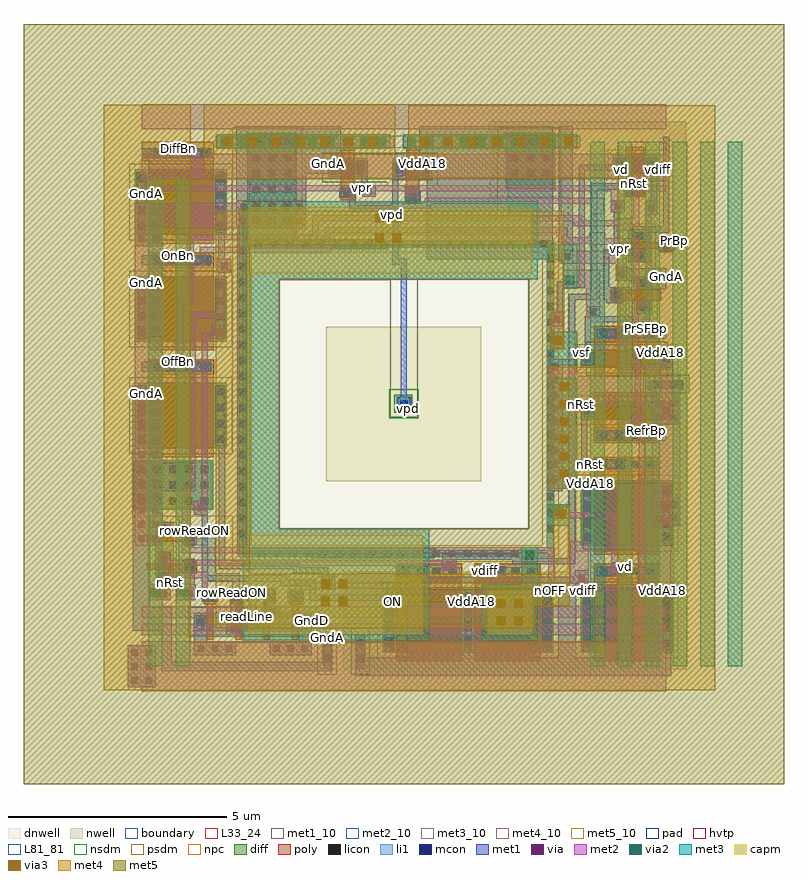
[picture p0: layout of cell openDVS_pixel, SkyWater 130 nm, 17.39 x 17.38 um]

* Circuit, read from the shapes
.subckt openDVS_pixel DiffBn GndA GndD ON OffBn OnBn PrBp PrSFBp RefrBp VddA18 nOFF nRst pixRst readLine rowReadOFF rowReadON vd vdiff vpd vpr vsf
XM1 nOFF OffBn GndA VSUBS sky130_fd_pr__nfet_01v8 w=1.5 l=1.5
XM2 ON OnBn GndA VSUBS sky130_fd_pr__nfet_01v8 w=1.5 l=1.5
XM3 vdiff DiffBn GndA VSUBS sky130_fd_pr__nfet_01v8 w=1.5 l=1.5
XM4 n1 pixRst nRst VSUBS sky130_fd_pr__nfet_01v8 w=0.42 l=0.15
XM5 GndA rowReadON n1 VSUBS sky130_fd_pr__nfet_01v8 w=0.42 l=0.15
XM6 n2 ON GndD VSUBS sky130_fd_pr__nfet_01v8 w=0.42 l=0.15
XM7 readLine rowReadON n2 VSUBS sky130_fd_pr__nfet_01v8 w=0.42 l=0.15
XM8 n3 rowReadOFF readLine VSUBS sky130_fd_pr__nfet_01v8 w=0.42 l=0.15
XM9 GndD nOFF n3 VSUBS sky130_fd_pr__nfet_01v8 w=0.42 l=0.15
XM10 vpr vpd GndA VSUBS sky130_fd_pr__nfet_01v8 w=0.42 l=0.3
XM11 VddA18 vpr vpd VSUBS sky130_fd_pr__nfet_01v8 w=0.5 l=0.3
XM12 VddA18 vdiff ON n4 sky130_fd_pr__pfet_01v8 w=1.5 l=1.5
XM13 nOFF vdiff VddA18 n4 sky130_fd_pr__pfet_01v8 w=1.5 l=1.5
XM14 VddA18 vd vdiff n4 sky130_fd_pr__pfet_01v8 w=1.5 l=1.5
XM15 VddA18 nRst VddA18 n4 sky130_fd_pr__pfet_01v8 w=1.5 l=1.5
XM16 VddA18 RefrBp nRst n4 sky130_fd_pr__pfet_01v8 w=0.42 l=1.5
XM17 VddA18 PrSFBp vsf n4 sky130_fd_pr__pfet_01v8_hvt w=0.42 l=1.5
XM18 vdiff nRst vd n4 sky130_fd_pr__pfet_01v8_hvt w=0.42 l=0.42
XM19 VddA18 PrBp vpr n4 sky130_fd_pr__pfet_01v8 w=0.5 l=0.15
XM20 GndA vpr vsf n4 sky130_fd_pr__pfet_01v8 w=0.42 l=0.25
XC21 vd vsf sky130_fd_pr__cap_mim_m3_1 w=3.985 l=2.27
XC22 vd vsf sky130_fd_pr__cap_mim_m3_1 w=6.47 l=1.505
XC23 vd vdiff sky130_fd_pr__cap_mim_m3_1 w=1 l=1
.ends

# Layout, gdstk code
import gdstk
lib = gdstk.Library(unit=1e-6, precision=1e-09)
def R(c, l, rs):  # rectangles x0, y0, x1, y1
    for r in rs: c.add(gdstk.rectangle(r[:2], r[2:], *l))
def A(c, l, x, y, w, h, nx, ny, dx, dy):  # array of equal rectangles
    R(c, l, [(x+i*dx, y+j*dy, x+i*dx+w, y+j*dy+h) for i in range(nx) for j in range(ny)])
def P(c, l, *ps):  # polygons
    for p in ps: c.add(gdstk.Polygon(p, *l))
L33_24 = (33, 24)
dnwell = (64, 18)
nwell = (64, 20)
diff = (65, 20)
poly = (66, 20)
licon = (66, 44)
li1 = (67, 20)
mcon = (67, 44)
met1_10 = (68, 10)
met1 = (68, 20)
via = (68, 44)
met2_10 = (69, 10)
met2 = (69, 20)
via2 = (69, 44)
met3_10 = (70, 10)
met3 = (70, 20)
via3 = (70, 44)
met4_10 = (71, 10)
met4 = (71, 20)
met5_10 = (72, 10)
met5 = (72, 20)
pad = (76, 20)
hvtp = (78, 44)
L81_81 = (81, 81)
capm = (89, 44)
nsdm = (93, 44)
psdm = (94, 20)
npc = (95, 20)
boundary = (235, 4)

opendvs_pixel = lib.new_cell('openDVS_pixel')
R(opendvs_pixel, L33_24, [(3.31,3.275,9.01,5.83), (3.31,3.275,5.86,8.975), (6.46,3.275,9.01,8.975), (6.46,3.28,9.01,8.98)])
R(opendvs_pixel, dnwell, [(3.31,3.28,9.01,8.98)])
R(opendvs_pixel, nwell, [(9.905,0.06,12.615,12.585), (4.775,0.065,5.375,2.295), (5.375,0.065,8.085,2.295), (5.375,0.065,12.615,2.295), (7.175,0.065,9.885,2.295), (9.905,0.065,12.615,2.665), (9.905,2.505,12.615,5.105), (4.39,4.36,7.93,7.9), (9.905,4.995,12.615,5.055), (9.905,5.055,12.615,6.575), (9.905,6.575,12.615,8.095), (10.705,7.89,12.225,9.35), (11.915,8.02,12.455,9.065), (12,9.065,12.455,11.95), (10.915,9.07,12.515,10.43), (10.4,9.35,10.915,10.43), (10.64,10.675,12.15,12.195), (8.12,10.865,9.905,12.585)])
A(opendvs_pixel, diff, 0.01, 5.115, 2.1, 1.5, 1, 3, 0, 2.44)
R(opendvs_pixel, diff, [(4.325,0.065,4.495,0.875), (5.08,0.065,5.25,0.875), (5.68,0.445,7.78,1.945), (7.48,0.445,9.58,1.945), (10.21,0.445,12.31,1.945), (1.355,0.935,4.055,1.355), (0.475,2.035,0.895,3.435), (2.38,2.63,9.595,2.8), (9.43,2.63,9.6,9.87), (2.38,2.635,2.55,10.58), (10.21,2.885,12.31,4.385), (-0.045,3.71,1.805,4.84), (10.21,5.775,12.31,6.195), (5.945,5.93,6.355,6.34), (11.735,6.475,12.545,6.645), (10.21,6.955,12.31,7.375), (11.425,8.195,11.845,9.045), (11.295,9.375,11.795,10.125), (2.55,9.7,9.555,9.87), (2.55,9.87,3.71,10.125), (2.55,10.125,2.58,10.58), (2.58,10.125,3.71,12.335), (2.58,10.125,3.71,12.335), (8.49,11.045,9.62,12.33), (5.91,11.245,6.81,11.745), (4.42,11.325,5.32,11.745), (10.935,11.4,11.955,11.82)])
A(opendvs_pixel, poly, 1.655, 0.735, 0.15, 0.82, 4, 1, 0.65, 0)
A(opendvs_pixel, poly, 0.31, 4.915, 1.5, 1.9, 1, 3, 0, 2.44)
A(opendvs_pixel, poly, 0.31, 6.815, 1.5, 0.33, 1, 3, 0, 2.44)
R(opendvs_pixel, poly, [(5.98,0.245,7.48,2.145), (7.78,0.245,9.28,2.145), (10.51,0.245,12.01,2.145), (1.595,1.555,1.865,1.885), (2.185,1.555,2.455,1.885), (2.955,1.555,3.225,1.885), (3.545,1.555,3.815,1.885), (5.98,2.145,7.48,2.475), (7.78,2.145,9.28,2.475), (10.51,2.145,12.01,2.475), (1.095,2.275,1.425,2.545), (0.275,2.335,1.095,2.485), (10.51,2.685,12.01,4.585), (1.095,2.925,1.425,3.195), (0.275,2.985,1.095,3.135), (10.51,4.585,12.01,4.915), (10.51,5.245,12.01,5.575), (10.51,5.575,12.01,6.395), (10.51,6.755,12.01,7.575), (10.51,7.575,12.01,7.905), (10.895,8.485,11.225,8.755), (11.225,8.495,12.045,8.745), (11.995,9.615,12.325,9.885), (11.095,9.675,11.995,9.825), (6.21,10.715,6.51,11.045), (4.72,10.795,5.02,11.125), (11.235,10.865,11.655,11.195), (6.21,11.045,6.51,11.945), (4.72,11.125,5.02,11.945), (11.235,11.195,11.655,12.015), (0.16,11.695,1.81,12.13)])
A(opendvs_pixel, licon, 5.745, 0.57, 0.17, 0.17, 1, 4, 0, 0.36)
A(opendvs_pixel, licon, 9.345, 0.57, 0.17, 0.17, 1, 4, 0, 0.36)
A(opendvs_pixel, licon, 10.275, 0.57, 0.17, 0.17, 1, 4, 0, 0.36)
A(opendvs_pixel, licon, 12.075, 0.57, 0.17, 0.17, 1, 4, 0, 0.36)
A(opendvs_pixel, licon, 1.42, 1.06, 0.17, 0.17, 3, 1, 1.2, 0)
A(opendvs_pixel, licon, 6.105, 2.225, 0.17, 0.17, 4, 1, 0.36, 0)
A(opendvs_pixel, licon, 7.905, 2.225, 0.17, 0.17, 4, 1, 0.36, 0)
A(opendvs_pixel, licon, 10.635, 2.225, 0.17, 0.17, 4, 2, 0.36, 2.44)
A(opendvs_pixel, licon, 3.19, 2.63, 0.17, 0.17, 4, 1, 0.36, 0)
A(opendvs_pixel, licon, 10.275, 3.01, 0.17, 0.17, 1, 4, 0, 0.36)
A(opendvs_pixel, licon, 12.075, 3.01, 0.17, 0.17, 1, 4, 0, 0.36)
A(opendvs_pixel, licon, 2.38, 3.075, 0.17, 0.17, 1, 19, 0, 0.36)
A(opendvs_pixel, licon, 0.075, 3.83, 0.17, 0.17, 5, 3, 0.36, 0.36)
A(opendvs_pixel, licon, 0.075, 5.24, 0.17, 0.17, 1, 4, 0, 0.36)
A(opendvs_pixel, licon, 1.875, 5.24, 0.17, 0.17, 1, 4, 0, 0.36)
A(opendvs_pixel, licon, 10.635, 5.325, 0.17, 0.17, 4, 2, 0.36, 2.33)
A(opendvs_pixel, licon, 0.435, 6.895, 0.17, 0.17, 4, 3, 0.36, 2.44)
A(opendvs_pixel, licon, 0.075, 7.68, 0.17, 0.17, 1, 4, 0, 0.36)
A(opendvs_pixel, licon, 1.875, 7.68, 0.17, 0.17, 1, 4, 0, 0.36)
A(opendvs_pixel, licon, 9.43, 7.915, 0.17, 0.17, 1, 4, 0, 0.36)
A(opendvs_pixel, licon, 3.47, 9.7, 0.17, 0.17, 4, 1, 0.36, 0)
A(opendvs_pixel, licon, 0.075, 10.12, 0.17, 0.17, 1, 4, 0, 0.36)
A(opendvs_pixel, licon, 1.875, 10.12, 0.17, 0.17, 1, 4, 0, 0.36)
A(opendvs_pixel, licon, 8.61, 11.325, 0.17, 0.17, 1, 3, 0, 0.36)
A(opendvs_pixel, licon, 8.61, 11.325, 0.17, 0.17, 3, 3, 0.36, 0.36)
R(opendvs_pixel, licon, [(4.325,0.225,4.495,0.395), (5.08,0.225,5.25,0.395), (7.545,0.57,7.715,0.74), (7.545,0.57,7.715,0.74), (4.325,0.585,4.495,0.755), (5.08,0.585,5.25,0.755), (7.545,0.93,7.715,1.1), (7.545,0.93,7.715,1.1), (7.545,1.29,7.715,1.46), (7.545,1.29,7.715,1.46), (1.645,1.635,1.815,1.805), (2.235,1.635,2.405,1.805), (3.005,1.635,3.175,1.805), (3.595,1.635,3.765,1.805), (7.545,1.65,7.715,1.82), (7.545,1.65,7.715,1.82), (0.6,2.1,0.77,2.27), (1.175,2.325,1.345,2.495), (2.825,2.63,2.995,2.8), (4.635,2.63,4.805,2.8), (4.995,2.63,5.165,2.8), (5.36,2.63,5.53,2.8), (5.72,2.63,5.89,2.8), (6.085,2.63,6.255,2.8), (6.445,2.63,6.615,2.8), (6.81,2.63,6.98,2.8), (7.17,2.63,7.34,2.8), (7.535,2.63,7.705,2.8), (7.895,2.63,8.065,2.8), (8.26,2.63,8.43,2.8), (8.62,2.63,8.79,2.8), (8.985,2.63,9.155,2.8), (1.175,2.975,1.345,3.145), (0.6,3.2,0.77,3.37), (9.43,3.2,9.6,3.37), (9.43,3.565,9.6,3.735), (9.43,3.925,9.6,4.095), (9.43,4.29,9.6,4.46), (9.43,4.65,9.6,4.82), (9.43,5.015,9.6,5.185), (9.43,5.375,9.6,5.545), (9.43,5.74,9.6,5.91), (10.275,5.9,10.445,6.07), (12.075,5.9,12.245,6.07), (6.075,6.05,6.245,6.22), (9.43,6.1,9.6,6.27), (9.43,6.465,9.6,6.635), (11.895,6.475,12.065,6.645), (12.255,6.475,12.425,6.645), (9.43,6.825,9.6,6.995), (10.275,7.08,10.445,7.25), (12.075,7.08,12.245,7.25), (9.43,7.19,9.6,7.36), (9.43,7.55,9.6,7.72), (11.55,8.26,11.72,8.43), (10.975,8.535,11.145,8.705), (11.55,8.81,11.72,8.98), (9.43,9.36,9.6,9.53), (11.46,9.44,11.63,9.61), (12.075,9.665,12.245,9.835), (12.075,9.665,12.245,9.835), (2.745,9.7,2.915,9.87), (3.105,9.7,3.275,9.87), (4.915,9.7,5.085,9.87), (5.275,9.7,5.445,9.87), (5.64,9.7,5.81,9.87), (6,9.7,6.17,9.87), (6.365,9.7,6.535,9.87), (6.725,9.7,6.895,9.87), (7.09,9.7,7.26,9.87), (7.45,9.7,7.62,9.87), (7.815,9.7,7.985,9.87), (8.175,9.7,8.345,9.87), (8.54,9.7,8.71,9.87), (8.9,9.7,9.07,9.87), (9.265,9.7,9.435,9.87), (11.46,9.89,11.63,10.06), (2.7,10.245,2.87,10.415), (2.7,10.245,2.87,10.415), (2.7,10.245,2.87,10.415), (2.7,10.245,2.87,10.415), (2.7,10.245,2.87,10.415), (3.06,10.245,3.23,10.415), (3.06,10.245,3.23,10.415), (3.06,10.245,3.23,10.415), (3.06,10.245,3.23,10.415), (3.42,10.245,3.59,10.415), (3.42,10.245,3.59,10.415), (3.42,10.245,3.59,10.415), (3.42,10.245,3.59,10.415), (2.7,10.605,2.87,10.775), (2.7,10.605,2.87,10.775), (2.7,10.605,2.87,10.775), (2.7,10.605,2.87,10.775), (2.7,10.605,2.87,10.775), (3.06,10.605,3.23,10.775), (3.06,10.605,3.23,10.775), (3.06,10.605,3.23,10.775), (3.06,10.605,3.23,10.775), (3.42,10.605,3.59,10.775), (3.42,10.605,3.59,10.775), (3.42,10.605,3.59,10.775), (3.42,10.605,3.59,10.775), (6.275,10.795,6.445,10.965), (4.785,10.875,4.955,11.045), (11.35,10.945,11.52,11.115), (2.7,10.965,2.87,11.135), (2.7,10.965,2.87,11.135), (2.7,10.965,2.87,11.135), (2.7,10.965,2.87,11.135), (3.06,10.965,3.23,11.135), (3.06,10.965,3.23,11.135), (3.06,10.965,3.23,11.135), (3.42,10.965,3.59,11.135), (3.42,10.965,3.59,11.135), (3.42,10.965,3.59,11.135), (2.7,11.325,2.87,11.495), (2.7,11.325,2.87,11.495), (2.7,11.325,2.87,11.495), (2.7,11.325,2.87,11.495), (3.06,11.325,3.23,11.495), (3.06,11.325,3.23,11.495), (3.06,11.325,3.23,11.495), (3.42,11.325,3.59,11.495), (3.42,11.325,3.59,11.495), (3.42,11.325,3.59,11.495), (5.975,11.41,6.145,11.58), (6.575,11.41,6.745,11.58), (4.485,11.45,4.655,11.62), (5.085,11.45,5.255,11.62), (11,11.52,11.17,11.69), (11.72,11.52,11.89,11.69), (2.7,11.685,2.87,11.855), (2.7,11.685,2.87,11.855), (2.7,11.685,2.87,11.855), (2.7,11.685,2.87,11.855), (3.06,11.685,3.23,11.855), (3.06,11.685,3.23,11.855), (3.06,11.685,3.23,11.855), (3.42,11.685,3.59,11.855), (3.42,11.685,3.59,11.855), (3.42,11.685,3.59,11.855), (2.7,12.045,2.87,12.215), (2.7,12.045,2.87,12.215), (2.7,12.045,2.87,12.215), (2.7,12.045,2.87,12.215), (3.06,12.045,3.23,12.215), (3.06,12.045,3.23,12.215), (3.06,12.045,3.23,12.215), (3.42,12.045,3.59,12.215), (3.42,12.045,3.59,12.215), (3.42,12.045,3.59,12.215)])
A(opendvs_pixel, li1, 1.42, 0.98, 0.17, 0.33, 3, 1, 1.2, 0)
A(opendvs_pixel, li1, 0.075, 5.16, 0.17, 1.41, 1, 3, 0, 2.44)
A(opendvs_pixel, li1, 1.875, 5.16, 0.17, 1.41, 1, 3, 0, 2.44)
A(opendvs_pixel, li1, 0.355, 6.895, 1.41, 0.17, 1, 3, 0, 2.44)
R(opendvs_pixel, li1, [(4.325,0.065,4.495,0.875), (4.325,0.065,4.495,0.875), (5.08,0.065,5.25,0.875), (5.745,0.49,5.915,1.9), (7.545,0.49,7.715,1.9), (7.545,0.49,7.715,1.9), (9.345,0.49,9.515,1.9), (10.275,0.49,10.445,1.9), (12.075,0.49,12.245,1.9), (2.235,1.555,2.405,1.885), (3.005,1.555,3.175,1.885), (1.565,1.635,1.895,1.805), (3.515,1.635,3.845,1.805), (4.265,1.885,4.595,2.215), (0.52,2.1,0.85,2.27), (6.025,2.225,7.435,2.395), (7.825,2.225,9.235,2.395), (10.555,2.225,11.965,2.395), (1.175,2.245,1.345,2.575), (2.38,2.63,9.595,2.8), (2.38,2.63,2.55,10.15), (2.38,2.63,2.55,10.58), (9.43,2.63,9.6,9.87), (1.175,2.895,1.345,3.225), (10.275,2.93,10.445,4.34), (12.075,2.93,12.245,4.34), (0.52,3.2,0.85,3.37), (-0.005,3.75,1.765,4.8), (-0.005,4.115,1.405,4.805), (10.555,4.665,11.965,4.835), (10.555,5.325,11.965,5.495), (10.275,5.82,10.445,6.15), (12.075,5.82,12.245,6.15), (5.995,5.97,6.325,6.3), (5.995,5.97,6.325,6.3), (11.755,6.475,12.565,6.645), (10.275,7,10.445,7.33), (12.075,7,12.245,7.33), (10.555,7.655,11.965,7.825), (11.47,8.26,11.8,8.43), (10.975,8.455,11.145,8.785), (11.47,8.81,11.8,8.98), (11.38,9.44,11.71,9.61), (12.075,9.585,12.245,9.915), (2.55,9.7,9.555,9.87), (2.55,9.87,3.67,10.125), (11.38,9.89,11.71,10.06), (2.38,10.125,3.67,10.58), (2.62,10.165,3.67,12.295), (2.62,10.165,3.67,12.295), (8.53,10.52,9.58,12.29), (6.195,10.795,6.525,10.965), (4.705,10.875,5.035,11.045), (11.27,10.945,11.6,11.115), (5.975,11.33,6.145,11.66), (6.575,11.33,6.745,11.66), (4.485,11.37,4.655,11.7), (5.085,11.37,5.255,11.7), (11,11.44,11.17,11.77), (11.72,11.44,11.89,11.77)])
A(opendvs_pixel, mcon, 5.745, 0.635, 0.17, 0.17, 1, 3, 0, 0.36)
A(opendvs_pixel, mcon, 7.545, 0.635, 0.17, 0.17, 1, 3, 0, 0.36)
A(opendvs_pixel, mcon, 9.345, 0.735, 0.17, 0.17, 1, 3, 0, 0.36)
A(opendvs_pixel, mcon, 10.275, 0.735, 0.17, 0.17, 1, 3, 0, 0.36)
A(opendvs_pixel, mcon, 1.42, 1.06, 0.17, 0.17, 3, 1, 1.2, 0)
A(opendvs_pixel, mcon, 4.915, 2.63, 0.17, 0.17, 3, 1, 0.36, 0)
A(opendvs_pixel, mcon, 2.38, 3.075, 0.17, 0.17, 1, 19, 0, 0.36)
A(opendvs_pixel, mcon, 12.075, 3.295, 0.17, 0.17, 1, 3, 0, 0.36)
A(opendvs_pixel, mcon, 0.075, 4.195, 0.17, 0.17, 4, 2, 0.36, 0.36)
A(opendvs_pixel, mcon, 0.075, 5.24, 0.17, 0.17, 1, 4, 0, 0.36)
A(opendvs_pixel, mcon, 1.875, 5.24, 0.17, 0.17, 1, 4, 0, 0.36)
A(opendvs_pixel, mcon, 10.635, 5.325, 0.17, 0.17, 4, 2, 0.36, 2.33)
A(opendvs_pixel, mcon, 0.435, 6.895, 0.17, 0.17, 4, 3, 0.36, 2.44)
A(opendvs_pixel, mcon, 0.075, 7.68, 0.17, 0.17, 1, 4, 0, 0.36)
A(opendvs_pixel, mcon, 1.875, 7.68, 0.17, 0.17, 1, 4, 0, 0.36)
A(opendvs_pixel, mcon, 3.47, 9.7, 0.17, 0.17, 4, 1, 0.36, 0)
A(opendvs_pixel, mcon, 0.075, 10.12, 0.17, 0.17, 1, 4, 0, 0.36)
A(opendvs_pixel, mcon, 1.875, 10.12, 0.17, 0.17, 1, 4, 0, 0.36)
A(opendvs_pixel, mcon, 2.7, 10.245, 0.17, 0.17, 3, 6, 0.36, 0.36)
A(opendvs_pixel, mcon, 8.61, 11.325, 0.17, 0.17, 3, 3, 0.36, 0.36)
R(opendvs_pixel, mcon, [(4.325,0.225,4.495,0.395), (5.08,0.225,5.25,0.395), (4.325,0.585,4.495,0.755), (5.08,0.585,5.25,0.755), (12.075,1.095,12.245,1.265), (12.075,1.455,12.245,1.625), (1.645,1.635,1.815,1.805), (2.235,1.635,2.405,1.805), (3.005,1.635,3.175,1.805), (3.595,1.635,3.765,1.805), (4.345,1.965,4.515,2.135), (0.6,2.1,0.77,2.27), (6.105,2.225,6.275,2.395), (6.465,2.225,6.635,2.395), (7.905,2.225,8.075,2.395), (8.265,2.225,8.435,2.395), (10.635,2.225,10.805,2.395), (10.995,2.225,11.165,2.395), (1.175,2.325,1.345,2.495), (4.19,2.63,4.36,2.8), (4.55,2.63,4.72,2.8), (6,2.63,6.17,2.8), (6.36,2.63,6.53,2.8), (1.175,2.975,1.345,3.145), (0.6,3.2,0.77,3.37), (10.275,3.295,10.445,3.465), (10.275,3.295,10.445,3.465), (10.275,3.655,10.445,3.825), (10.275,3.655,10.445,3.825), (10.275,4.015,10.445,4.185), (10.275,4.015,10.445,4.185), (10.635,4.665,10.805,4.835), (10.995,4.665,11.165,4.835), (10.275,5.9,10.445,6.07), (12.075,5.9,12.245,6.07), (6.075,6.05,6.245,6.22), (11.895,6.475,12.065,6.645), (12.255,6.475,12.425,6.645), (10.275,7.08,10.445,7.25), (12.075,7.08,12.245,7.25), (11.55,8.26,11.72,8.43), (10.975,8.535,11.145,8.705), (11.55,8.81,11.72,8.98), (11.46,9.44,11.63,9.61), (12.075,9.665,12.245,9.835), (2.745,9.7,2.915,9.87), (3.105,9.7,3.275,9.87), (4.915,9.7,5.085,9.87), (5.275,9.7,5.445,9.87), (11.46,9.89,11.63,10.06), (6.275,10.795,6.445,10.965), (4.785,10.875,4.955,11.045), (11.35,10.945,11.52,11.115), (5.975,11.41,6.145,11.58), (6.575,11.41,6.745,11.58), (4.485,11.45,4.655,11.62), (5.085,11.45,5.255,11.62), (11,11.52,11.17,11.69), (11.72,11.52,11.89,11.69)])
R(opendvs_pixel, met1_10, [(3.31,3.28,5.86,8.98), (3.31,3.28,9.01,5.835), (6.46,3.28,9.01,8.98)])
A(opendvs_pixel, met1, 1.36, 1, 0.29, 0.29, 3, 1, 1.2, 0)
A(opendvs_pixel, met1, 2.35, 2.96, 0.23, 0.37, 1, 8, 0, 0.72)
A(opendvs_pixel, met1, 1.845, 5.18, 0.23, 1.37, 1, 3, 0, 2.44)
A(opendvs_pixel, met1, 0.375, 6.865, 1.37, 0.23, 1, 3, 0, 2.44)
R(opendvs_pixel, met1, [(-0.16,-0.35,0.48,0.61), (5.05,-0.08,12.275,0.34), (0.16,0.02,0.445,0.37), (0.62,0.02,0.855,0.465), (0.855,0.02,4.385,0.24), (4.295,0.02,4.525,0.47), (5.05,0.125,5.28,0.855), (6.22,0.34,7.515,1.615), (7.515,0.34,7.745,0.48), (7.745,0.34,9.035,1.615), (9.685,0.34,10.105,1.865), (10.76,0.34,12.16,1.915), (12.045,0.34,12.275,0.48), (1.36,0.38,2.32,0.7), (3.09,0.38,4.05,0.7), (0.62,0.465,0.855,1.48), (4.295,0.47,4.525,0.84), (5.715,0.48,5.945,1.615), (7.515,0.48,7.745,1.615), (9.315,0.48,9.545,1.875), (10.25,0.48,10.48,1.875), (12.045,0.48,12.275,1.875), (1.36,0.7,1.65,1), (3.76,0.7,4.05,1), (2.1,0.84,2.42,1.1), (-0.045,0.94,0.365,2.89), (-0.045,0.94,0.855,1.48), (2.195,1.1,2.42,1.605), (2.99,1.24,3.31,1.5), (2.975,1.5,3.205,1.605), (2.205,1.535,2.435,1.905), (2.975,1.535,3.205,1.905), (1.545,1.605,1.915,1.835), (2.575,1.605,2.835,1.93), (3.495,1.605,3.865,1.835), (5.715,1.615,5.945,1.765), (0.505,1.64,0.825,1.9), (1.13,1.64,1.4,1.965), (11.505,1.875,12.275,2.97), (4.285,1.905,4.575,2.195), (1.145,1.965,1.375,2.225), (10.065,2.005,10.385,2.325), (0.54,2.04,0.83,2.33), (0.82,2.04,0.985,2.29), (7.845,2.175,8.495,2.195), (6.045,2.195,6.695,2.425), (7.845,2.195,8.495,2.425), (10.575,2.195,11.225,2.425), (10.905,2.195,11.225,2.515), (1.145,2.225,1.375,2.595), (7.04,2.315,7.365,2.575), (0.54,2.33,0.83,2.75), (0.54,2.43,0.81,2.75), (4.03,2.6,6.865,2.83), (10.245,2.795,12.245,4.33), (2.35,2.83,2.58,8.72), (1.145,2.875,1.375,3.245), (-0.045,2.89,0.64,6.41), (10.245,2.97,10.445,4.33), (12.075,2.97,12.275,4.33), (0.54,3.14,0.83,3.43), (11.84,3.35,12.48,3.99), (1.36,3.6,1.68,3.92), (0.015,4.135,1.385,4.785), (9.465,4.135,9.795,7.15), (0.045,4.635,0.275,5.18), (10.575,4.635,11.225,4.865), (-0.045,5.18,0.275,6.55), (10.575,5.295,11.945,5.525), (11.945,5.295,12.16,5.525), (11.35,5.665,11.67,5.925), (11.84,5.665,12.48,6.305), (10.215,5.84,10.505,6.13), (12.015,5.84,12.305,6.13), (6.015,5.99,6.305,6.28), (12.015,6.13,12.305,7.02), (11.84,6.305,12.48,6.445), (11.79,6.445,12.14,6.675), (12.14,6.445,12.53,6.675), (0.16,6.865,0.375,7.095), (10.215,7.02,10.505,7.31), (12.015,7.02,12.305,7.31), (11.44,7.195,11.76,7.455), (0.045,7.62,0.275,8.99), (1.755,7.62,2.075,7.94), (10.575,7.625,11.945,7.855), (11.945,7.625,12.16,7.855), (0,7.67,0.64,8.95), (9.535,7.905,9.795,8.225), (10.325,8.11,10.645,8.37), (11.49,8.135,11.78,8.2), (11.49,8.2,11.78,8.49), (10.79,8.435,11.175,8.805), (10.945,8.435,11.175,8.805), (2.35,8.72,2.58,10.15), (11.49,8.75,11.78,9.04), (11.78,8.75,12.16,9.04), (11,8.945,11.26,9.265), (11,8.945,11.26,9.24), (11.26,8.945,12.16,9.24), (1.89,9.13,2.21,9.45), (0.16,9.305,0.4,9.535), (9.76,9.34,10.02,9.66), (11.4,9.38,11.69,9.67), (9.705,9.39,10.02,12.485), (6.685,9.44,7.41,11.35), (7.41,9.44,9.565,12.48), (11.975,9.635,12.345,9.865), (2.58,9.67,5.755,9.9), (0,9.74,0.64,10.7), (11.4,9.83,11.69,10.12), (0.045,10.06,0.275,11.43), (2.33,10.15,3.93,12.48), (2.33,10.15,3.93,10.79), (7.245,10.435,9.165,10.755), (11.69,10.455,11.95,10.775), (10.895,10.515,11.215,10.775), (6.175,10.765,6.545,10.995), (4.685,10.845,5.055,11.075), (5.195,10.87,5.515,11.13), (6.175,10.87,6.495,11.13), (8.91,10.9,9.56,12.27), (11.25,10.915,11.62,11.145), (5.915,11.35,6.205,11.64), (6.515,11.35,6.805,11.64), (6.515,11.35,7.41,12.48), (3.93,11.39,4.715,12.48), (4.425,11.39,4.715,11.68), (5.025,11.39,5.315,11.68), (10.94,11.46,11.23,11.75), (11.66,11.46,11.95,11.75), (4.425,11.68,4.715,11.78), (0.16,11.745,0.375,11.975)])
A(opendvs_pixel, via, -0.075, -0.265, 0.15, 0.15, 1, 3, 0, 0.32)
A(opendvs_pixel, via, 0.245, -0.265, 0.15, 0.15, 1, 3, 0, 0.32)
A(opendvs_pixel, via, 1.445, 0.465, 0.15, 0.15, 3, 1, 0.32, 0)
A(opendvs_pixel, via, 3.175, 0.465, 0.15, 0.15, 3, 1, 0.32, 0)
A(opendvs_pixel, via, 0.085, 2.975, 0.15, 0.15, 1, 11, 0, 0.32)
A(opendvs_pixel, via, 0.405, 2.975, 0.15, 0.15, 1, 11, 0, 0.32)
A(opendvs_pixel, via, 9.52, 4.355, 0.15, 0.15, 1, 9, 0, 0.32)
A(opendvs_pixel, via, 0.085, 7.755, 0.15, 0.15, 1, 4, 0, 0.32)
A(opendvs_pixel, via, 0.405, 7.755, 0.15, 0.15, 1, 4, 0, 0.32)
A(opendvs_pixel, via, 0.085, 9.825, 0.15, 0.15, 1, 3, 0, 0.32)
A(opendvs_pixel, via, 0.405, 9.825, 0.15, 0.15, 1, 3, 0, 0.32)
A(opendvs_pixel, via, 2.415, 10.235, 0.15, 0.15, 5, 2, 0.32, 0.32)
R(opendvs_pixel, via, [(2.185,0.895,2.335,1.045), (3.075,1.295,3.225,1.445), (0.59,1.695,0.74,1.845), (2.63,1.695,2.78,1.845), (1.185,1.725,1.335,1.875), (10.15,2.09,10.3,2.24), (10.99,2.28,11.14,2.43), (7.13,2.37,7.28,2.52), (0.595,2.515,0.745,2.665), (11.925,3.435,12.075,3.585), (12.245,3.435,12.395,3.585), (1.445,3.685,1.595,3.835), (11.925,3.755,12.075,3.905), (12.245,3.755,12.395,3.905), (11.435,5.72,11.585,5.87), (11.925,5.75,12.075,5.9), (12.245,5.75,12.395,5.9), (11.925,6.07,12.075,6.22), (12.245,6.07,12.395,6.22), (11.525,7.25,11.675,7.4), (1.84,7.705,1.99,7.855), (9.59,7.99,9.74,8.14), (10.41,8.165,10.56,8.315), (11.055,9.03,11.205,9.18), (1.975,9.215,2.125,9.365), (9.815,9.425,9.965,9.575), (11.745,10.54,11.895,10.69), (10.98,10.57,11.13,10.72), (5.28,10.925,5.43,11.075), (6.26,10.925,6.41,11.075)])
R(opendvs_pixel, met2_10, [(3.31,3.28,9.01,8.98), (5.94,11.99,6.15,12.27)])
R(opendvs_pixel, met2, [(0.16,-0.44,12.16,0.7), (-0.16,-0.35,0.48,0.61), (1.36,0.38,2.32,0.7), (3.09,0.38,4.05,0.7), (0.335,1.64,0.615,2.01), (0.505,1.64,0.825,1.925), (0.965,1.64,1.22,2.01), (1.13,1.64,1.4,2.01), (2.54,1.64,2.865,1.9), (0.505,1.655,0.78,1.925), (9.96,2.005,10.385,2.99), (10.065,2.005,10.385,2.325), (10.905,2.195,11.225,2.515), (7.04,2.315,7.365,2.575), (0.54,2.43,0.81,2.75), (8.85,2.485,9.22,2.855), (0,2.89,0.64,6.41), (0,2.89,0.64,10.73), (11.84,3.35,12.48,3.99), (9.515,3.52,9.885,3.8), (1.36,3.6,1.68,3.92), (11.84,3.99,12.48,5.73), (9.465,4.195,10.12,7.15), (11.35,5.665,11.67,5.925), (11.84,5.665,12.48,6.775), (10.12,6.065,11.84,6.775), (11.44,7.195,11.76,7.455), (9.525,7.41,9.805,8.24), (1.755,7.62,2.075,7.94), (0,7.67,0.64,8.95), (9.535,7.905,9.795,8.225), (10.325,8.11,10.645,9.2), (10.325,8.11,10.645,8.37), (9.79,8.775,10.325,9.2), (9.84,8.775,10.12,9.145), (11,8.945,11.26,9.34), (1.89,9.13,2.21,9.45), (9.76,9.34,10.02,9.66), (9.76,9.34,10.3,9.635), (10.3,9.34,11.26,9.635), (0,9.74,0.64,10.7), (10.4,9.775,10.77,10.055), (11.03,10.095,11.4,10.375), (0.64,10.15,3.93,10.73), (2.33,10.15,3.93,10.79), (11.69,10.455,11.95,10.775), (10.44,10.475,10.725,10.845), (10.895,10.515,11.215,10.795), (10.895,10.795,11.215,11.13), (5.195,10.87,5.515,11.13), (6.175,10.87,6.495,11.13), (0.16,11.27,12.16,11.85), (1.86,11.99,5.94,12.27), (6.15,11.99,10.19,12.27), (0.16,12.41,12.16,12.99)])
A(opendvs_pixel, via2, 9.725, 4.43, 0.2, 0.2, 1, 6, 0, 0.4)
A(opendvs_pixel, via2, 1.965, 12.03, 0.2, 0.2, 10, 1, 0.4, 0)
A(opendvs_pixel, via2, 6.235, 12.03, 0.2, 0.2, 10, 1, 0.4, 0)
R(opendvs_pixel, via2, [(0.375,1.725,0.575,1.925), (1.005,1.725,1.205,1.925), (8.935,2.57,9.135,2.77), (9.6,3.56,9.8,3.76), (9.565,7.495,9.765,7.695), (9.855,8.86,10.055,9.06)])
R(opendvs_pixel, met3_10, [(3.31,3.28,9.01,8.98)])
R(opendvs_pixel, met3, [(2.47,0.73,6.735,3.28), (7.94,0.73,9.22,2.01), (8.85,2.01,9.22,2.385), (8.85,2.385,9.22,2.485), (8.85,2.485,9.22,2.855), (2.47,2.82,3.31,9.485), (9.465,3.345,9.955,3.835), (9.575,3.415,9.955,3.795), (9.465,4.195,10.12,6.715), (9.5,7.015,10.12,7.78), (9.79,8.77,10.12,9.665), (2.47,8.98,9.22,10.765), (9.145,9.44,10.12,9.77), (1.88,11.965,5.85,12.295), (6.15,11.965,10.12,12.295)])
A(opendvs_pixel, via3, 9.725, 4.43, 0.2, 0.2, 1, 6, 0, 0.4)
A(opendvs_pixel, via3, 2.05, 12.03, 0.2, 0.2, 7, 1, 0.55, 0)
A(opendvs_pixel, via3, 6.53, 12.03, 0.2, 0.2, 7, 1, 0.55, 0)
R(opendvs_pixel, via3, [(8.28,1.07,8.48,1.27), (8.68,1.07,8.88,1.27), (8.28,1.47,8.48,1.67), (8.68,1.47,8.88,1.67), (4.265,1.52,4.465,1.72), (4.665,1.52,4.865,1.72), (4.265,1.92,4.465,2.12), (4.665,1.92,4.865,2.12), (9.665,3.505,9.865,3.705), (9.565,7.49,9.765,7.69), (5.505,9.82,5.705,10.02), (5.905,9.82,6.105,10.02), (5.505,10.285,5.705,10.485), (5.905,10.285,6.105,10.485)])
R(opendvs_pixel, met4_10, [(3.31,3.28,9.01,8.98)])
R(opendvs_pixel, met4, [(-0.7,-0.42,1.285,12.97), (0.155,-0.42,13.285,0.68), (11.035,0.13,13.285,12.96), (1.855,1.005,9.165,1.845), (1.855,1.515,9.165,2.245), (8.895,1.515,9.955,2.245), (9.11,1.515,9.84,2.245), (1.855,1.525,2.64,10.525), (5.14,1.525,5.87,2.255), (9.575,2.125,9.955,3.415), (9.575,3.415,9.955,3.795), (9.465,4.195,11.035,6.985), (1.885,5.345,2.615,6.075), (9.5,7.385,9.83,10.55), (1.855,7.885,2.585,8.615), (1.855,9.755,9.505,10.55), (1.91,9.945,2.64,10.525), (1.585,11.29,5.965,12.97), (6.265,11.3,11.035,12.96)])
R(opendvs_pixel, met5_10, [(3.31,3.28,9.01,8.98)])
R(opendvs_pixel, met5, [(-2.53,-2.56,3.31,14.82), (-2.53,-2.56,14.855,3.28), (9.01,-2.56,14.855,14.82)])
P(opendvs_pixel, met5, [(3.3,8.98),(3.3,9.44),(0.16,9.44),(0.16,14.82),(12.16,14.82),(12.16,8.98)])
R(opendvs_pixel, pad, [(3.31,3.28,9.01,8.98)])
R(opendvs_pixel, hvtp, [(10.33,6.775,12.19,7.555), (11.065,11.215,11.725,11.995), (11.065,11.225,12.16,12.13), (11.9,11.225,12.16,12.005)])
R(opendvs_pixel, L81_81, [(3.31,3.28,9.01,8.98)])
R(opendvs_pixel, capm, [(2.61,0.87,6.595,3.14), (8.08,0.87,9.08,1.87), (2.61,9.12,9.08,10.625)])
A(opendvs_pixel, nsdm, -0.115, 4.99, 2.35, 1.75, 1, 3, 0, 2.44)
R(opendvs_pixel, nsdm, [(4.955,-0.06,5.375,1), (1.23,0.81,4.18,1.48), (0.35,1.91,1.02,3.56), (5.825,5.805,6.485,6.465), (11.63,6.375,12.69,6.795), (8.3,10.42,9.755,12.455), (5.785,11.12,6.935,11.87), (4.295,11.2,5.445,11.87), (5.445,11.2,5.805,11.87)])
R(opendvs_pixel, psdm, [(4.18,-0.06,4.62,1), (5.555,0.32,7.905,2.07), (7.355,0.32,9.705,2.07), (10.085,0.32,12.435,2.07), (2.235,2.525,9.64,2.905), (9.325,2.525,9.705,10), (2.235,2.635,2.675,12.455), (10.085,2.76,12.435,4.51), (-0.05,3.56,2.235,4.99), (10.085,5.65,12.435,6.32), (10.085,6.83,12.435,7.5), (11.3,8.07,11.97,9.17), (11.17,9.17,11.92,9.25), (11.17,9.25,11.92,10.25), (2.675,9.595,9.705,10), (2.39,9.995,3.84,12.455), (10.82,11.27,12.16,11.94)])
A(opendvs_pixel, npc, 0.3, 6.805, 1.52, 0.35, 1, 3, 0, 2.44)
R(opendvs_pixel, npc, [(1.585,1.545,1.875,1.895), (2.175,1.545,2.465,1.895), (2.945,1.545,3.235,1.895), (3.535,1.545,3.825,1.895), (5.97,2.135,7.49,2.485), (7.77,2.135,9.29,2.485), (10.5,2.135,12.02,2.485), (1.085,2.265,1.435,2.555), (1.085,2.915,1.435,3.205), (10.5,4.575,12.02,4.925), (10.5,5.235,12.02,5.585), (10.5,7.565,12.02,7.915), (10.885,8.475,11.235,8.765), (11.985,9.605,12.335,9.895), (6.2,10.705,6.52,11.055), (4.71,10.785,5.03,11.135), (11.235,10.855,11.675,11.205), (0.16,11.685,1.82,12.13)])
R(opendvs_pixel, boundary, [(10.445,0.725,10.51,0.73)])
opendvs_pixel.add(gdstk.FlexPath([(1.61,3.6),(1.61,7.69),(1.97,7.69)], 0.14, ends="flush", simple_path=True, layer=69, datatype=20))  # met2
opendvs_pixel.add(gdstk.FlexPath([(1.33,8.235),(1.33,6.98)], 0.14, ends="flush", simple_path=True, layer=69, datatype=20))  # met2
opendvs_pixel.add(gdstk.FlexPath([(1.28,9.115),(1.28,8.47),(1.05,8.47),(1.05,6.96)], 0.14, ends="flush", simple_path=True, layer=69, datatype=20))  # met2
opendvs_pixel.add(gdstk.FlexPath([(12.16,0.97),(0.16,0.97)], 0.26, ends="flush", simple_path=True, layer=69, datatype=20))  # met2
opendvs_pixel.add(gdstk.FlexPath([(12.16,1.37),(0.16,1.37)], 0.26, ends="flush", simple_path=True, layer=69, datatype=20))  # met2
opendvs_pixel.add(gdstk.FlexPath([(4.465,10.1),(9.9,10.1)], 0.14, ends="flush", simple_path=True, layer=69, datatype=20))  # met2
opendvs_pixel.add(gdstk.FlexPath([(4.63,10.38),(10.23,10.38)], 0.14, ends="flush", simple_path=True, layer=69, datatype=20))  # met2
opendvs_pixel.add(gdstk.FlexPath([(1.28,9.93),(1.28,9.115)], 0.14, ends="flush", simple_path=True, layer=69, datatype=20))  # met2
opendvs_pixel.add(gdstk.FlexPath([(4.21,9.94),(1.21,9.94)], 0.14, ends="flush", simple_path=True, layer=69, datatype=20))  # met2
opendvs_pixel.add(gdstk.FlexPath([(4.14,10.39),(4.14,9.87)], 0.14, ends="flush", simple_path=True, layer=69, datatype=20))  # met2
opendvs_pixel.add(gdstk.FlexPath([(4.07,10.38),(4.77,10.38)], 0.14, ends="flush", simple_path=True, layer=69, datatype=20))  # met2
opendvs_pixel.add(gdstk.FlexPath([(4.42,9.59),(4.42,10.17)], 0.14, ends="flush", simple_path=True, layer=69, datatype=20))  # met2
opendvs_pixel.add(gdstk.FlexPath([(6.37,10.66),(4.98,10.66),(4.98,11.06),(0.16,11.06)], 0.14, ends="flush", simple_path=True, layer=69, datatype=20))  # met2
opendvs_pixel.add(gdstk.FlexPath([(5.335,11.06),(11.215,11.06)], 0.14, ends="flush", simple_path=True, layer=69, datatype=20))  # met2
opendvs_pixel.add(gdstk.FlexPath([(4.49,9.66),(1.61,9.66)], 0.14, ends="flush", simple_path=True, layer=69, datatype=20))  # met2
opendvs_pixel.add(gdstk.FlexPath([(10.425,10.265),(10.115,10.265),(10.115,10.38),(10.23,10.38)], 0.14, ends="flush", simple_path=True, layer=69, datatype=20))  # met2
opendvs_pixel.add(gdstk.FlexPath([(10.425,10.265),(11.54,10.265)], 0.14, ends="flush", simple_path=True, layer=69, datatype=20))  # met2
opendvs_pixel.add(gdstk.FlexPath([(1.56,9.73),(1.56,9.305)], 0.14, ends="flush", simple_path=True, layer=69, datatype=20))  # met2
opendvs_pixel.add(gdstk.FlexPath([(1.38,8.165),(1.99,8.165),(1.99,9.45)], 0.14, ends="flush", simple_path=True, layer=69, datatype=20))  # met2
opendvs_pixel.add(gdstk.FlexPath([(6.37,10.66),(6.705,10.66),(6.705,10.78),(10.725,10.78)], 0.14, ends="flush", simple_path=True, layer=69, datatype=20))  # met2
opendvs_pixel.add(gdstk.FlexPath([(11.6,5.73),(11.6,1.935),(10.955,1.935)], 0.14, ends="flush", simple_path=True, layer=69, datatype=20))  # met2
opendvs_pixel.add(gdstk.FlexPath([(11.6,1.935),(9.535,1.935),(9.535,2.855)], 0.14, ends="flush", simple_path=True, layer=69, datatype=20))  # met2
opendvs_pixel.add(gdstk.FlexPath([(2.32,2.785),(1.15,2.785)], 0.14, ends="flush", simple_path=True, layer=69, datatype=20))  # met2
opendvs_pixel.add(gdstk.FlexPath([(1.33,6.98),(1.33,4.2),(1.15,4.2),(1.15,2.715)], 0.14, ends="flush", simple_path=True, layer=69, datatype=20))  # met2
opendvs_pixel.add(gdstk.FlexPath([(2.25,2.785),(9.605,2.785)], 0.14, ends="flush", simple_path=True, layer=69, datatype=20))  # met2
opendvs_pixel.add(gdstk.FlexPath([(11.76,9.66),(11.76,8.455),(11.45,8.455),(11.45,7.195)], 0.14, ends="flush", simple_path=True, layer=69, datatype=20))  # met2
opendvs_pixel.add(gdstk.FlexPath([(11.76,9.66),(11.76,10.565)], 0.14, ends="flush", simple_path=True, layer=69, datatype=20))  # met2
opendvs_pixel.add(gdstk.FlexPath([(10.77,9.87),(9.83,9.87),(9.83,10.17)], 0.14, ends="flush", simple_path=True, layer=69, datatype=20))  # met2
opendvs_pixel.add(gdstk.FlexPath([(11.47,10.195),(11.47,11.06),(12.16,11.06)], 0.14, ends="flush", simple_path=True, layer=69, datatype=20))  # met2
opendvs_pixel.add(gdstk.FlexPath([(11.17,7.4),(11.17,6.985),(12.16,6.985)], 0.14, ends="flush", simple_path=True, layer=69, datatype=20))  # met2
opendvs_pixel.add(gdstk.FlexPath([(10.77,9.845),(11.47,9.845),(11.47,8.735),(11.17,8.735),(11.17,7.4)], 0.14, ends="flush", simple_path=True, layer=69, datatype=20))  # met2
opendvs_pixel.add(gdstk.FlexPath([(7.225,2.5),(0.81,2.5)], 0.14, ends="flush", simple_path=True, layer=69, datatype=20))  # met2
opendvs_pixel.add(gdstk.FlexPath([(10.975,3.66),(10.975,2.195)], 0.14, ends="flush", simple_path=True, layer=69, datatype=20))  # met2
opendvs_pixel.add(gdstk.FlexPath([(11.045,3.59),(9.515,3.59)], 0.14, ends="flush", simple_path=True, layer=69, datatype=20))  # met2
opendvs_pixel.add(gdstk.FlexPath([(2.575,1.83),(1.61,1.83),(1.61,2.22),(0.685,2.22),(0.685,1.925)], 0.14, ends="flush", simple_path=True, layer=69, datatype=20))  # met2
opendvs_pixel.add(gdstk.FlexPath([(10.005,6.75),(10.005,6.06),(10.215,6.06)], 0.14, ends="flush", simple_path=True, layer=68, datatype=20))  # met1
opendvs_pixel.add(gdstk.FlexPath([(10.005,7.92),(10.005,6.75)], 0.14, ends="flush", simple_path=True, layer=68, datatype=20))  # met1
opendvs_pixel.add(gdstk.FlexPath([(12.16,1.875),(12.16,2.97)], 0.15, ends="flush", simple_path=True, layer=68, datatype=20))  # met1
opendvs_pixel.add(gdstk.FlexPath([(10.285,5.84),(10.285,4.795),(10.575,4.795)], 0.14, ends="flush", simple_path=True, layer=68, datatype=20))  # met1
opendvs_pixel.add(gdstk.FlexPath([(10.365,7.31),(10.365,8.065),(11.78,8.065)], 0.14, ends="flush", simple_path=True, layer=68, datatype=20))  # met1
opendvs_pixel.add(gdstk.FlexPath([(11.51,7.29),(11.51,5.795)], 0.14, ends="flush", simple_path=True, layer=68, datatype=20))  # met1
opendvs_pixel.add(gdstk.FlexPath([(5.265,11.68),(5.265,11.005)], 0.14, ends="flush", simple_path=True, layer=68, datatype=20))  # met1
opendvs_pixel.add(gdstk.FlexPath([(-0.04,1.015),(0.245,1.015)], 0.15, ends="flush", simple_path=True, layer=68, datatype=20))  # met1
opendvs_pixel.add(gdstk.FlexPath([(5.94,10.6),(4.985,10.6),(4.985,11.075)], 0.14, ends="flush", simple_path=True, layer=68, datatype=20))  # met1
opendvs_pixel.add(gdstk.FlexPath([(11.23,11.53),(10.16,11.53)], 0.14, ends="flush", simple_path=True, layer=68, datatype=20))  # met1
opendvs_pixel.add(gdstk.FlexPath([(10.23,11.57),(10.23,8.79)], 0.14, ends="flush", simple_path=True, layer=68, datatype=20))  # met1
opendvs_pixel.add(gdstk.FlexPath([(10.005,7.92),(10.005,8.58),(10.51,8.58),(10.51,11.105),(11.63,11.105)], 0.14, ends="flush", simple_path=True, layer=68, datatype=20))  # met1
opendvs_pixel.add(gdstk.FlexPath([(10.79,8.51),(10.79,9.6),(11.69,9.6)], 0.14, ends="flush", simple_path=True, layer=68, datatype=20))  # met1
opendvs_pixel.add(gdstk.FlexPath([(11.025,9.53),(11.025,10.775)], 0.14, ends="flush", simple_path=True, layer=68, datatype=20))  # met1
opendvs_pixel.add(gdstk.FlexPath([(1.99,10.06),(1.99,9.45)], 0.14, ends="flush", simple_path=True, layer=68, datatype=20))  # met1
opendvs_pixel.add(gdstk.FlexPath([(8.56,2.105),(10.315,2.105),(10.315,0.48)], 0.14, ends="flush", simple_path=True, layer=68, datatype=20))  # met1
opendvs_pixel.add(gdstk.FlexPath([(6.17,2.01),(6.17,1.825),(9.545,1.825)], 0.14, ends="flush", simple_path=True, layer=68, datatype=20))  # met1
opendvs_pixel.add(gdstk.FlexPath([(2.705,1.29),(2.705,1.88)], 0.14, ends="flush", simple_path=True, layer=68, datatype=20))  # met1
opendvs_pixel.add(gdstk.FlexPath([(5.945,1.695),(5.14,1.695)], 0.14, ends="flush", simple_path=True, layer=68, datatype=20))  # met1
opendvs_pixel.add(gdstk.FlexPath([(1.61,3.655),(1.61,1.605)], 0.14, ends="flush", simple_path=True, layer=68, datatype=20))  # met1
opendvs_pixel.add(gdstk.FlexPath([(12.165,10.12),(11.4,10.12)], 0.14, ends="flush", simple_path=True, layer=68, datatype=20))  # met1
opendvs_pixel.add(gdstk.FlexPath([(11.88,10.47),(11.88,11.75)], 0.14, ends="flush", simple_path=True, layer=68, datatype=20))  # met1
opendvs_pixel.add(gdstk.FlexPath([(12.16,10.05),(12.16,12.245)], 0.14, ends="flush", simple_path=True, layer=68, datatype=20))  # met1
opendvs_pixel.add(gdstk.FlexPath([(9.725,8.93),(9.725,8.145)], 0.14, ends="flush", simple_path=True, layer=68, datatype=20))  # met1
opendvs_pixel.add(gdstk.FlexPath([(10.3,8.86),(9.655,8.86)], 0.14, ends="flush", simple_path=True, layer=68, datatype=20))  # met1
opendvs_pixel.add(gdstk.FlexPath([(8.72,2.525),(8.72,2.635),(7.04,2.635)], 0.14, ends="flush", simple_path=True, layer=68, datatype=20))  # met1
opendvs_pixel.add(gdstk.FlexPath([(6.695,2.105),(6.625,2.105),(6.625,2.265)], 0.14, ends="flush", simple_path=True, layer=68, datatype=20))  # met1
opendvs_pixel.add(gdstk.FlexPath([(8.56,2.105),(6.695,2.105)], 0.14, ends="flush", simple_path=True, layer=68, datatype=20))  # met1
opendvs_pixel.add(gdstk.FlexPath([(10.005,6.06),(10.005,2.535),(8.635,2.535)], 0.14, ends="flush", simple_path=True, layer=68, datatype=20))  # met1
opendvs_pixel.add(gdstk.FlexPath([(4.03,2.76),(2.35,2.76)], 0.14, ends="flush", simple_path=True, layer=68, datatype=20))  # met1
opendvs_pixel.add(gdstk.FlexPath([(2,5.515),(2,2.42),(3.575,2.42)], 0.14, ends="flush", simple_path=True, layer=68, datatype=20))  # met1
opendvs_pixel.add(gdstk.FlexPath([(3.575,2.42),(3.695,2.42),(3.695,2.325),(4.355,2.325),(4.355,2.195)], 0.14, ends="flush", simple_path=True, layer=68, datatype=20))  # met1
opendvs_pixel.add(gdstk.FlexPath([(6.24,1.975),(4.565,1.975)], 0.14, ends="flush", simple_path=True, layer=68, datatype=20))  # met1
opendvs_pixel.add(gdstk.FlexPath([(3.485,2.14),(1.68,2.14)], 0.14, ends="flush", simple_path=True, layer=68, datatype=20))  # met1
opendvs_pixel.add(gdstk.FlexPath([(3.485,2.045),(3.415,2.045),(3.415,2.21)], 0.14, ends="flush", simple_path=True, layer=68, datatype=20))  # met1
opendvs_pixel.add(gdstk.FlexPath([(5.21,1.695),(4.075,1.695),(4.075,2.045),(3.365,2.045)], 0.14, ends="flush", simple_path=True, layer=68, datatype=20))  # met1
opendvs_pixel.add(gdstk.FlexPath([(5.895,9.39),(6.16,9.39),(6.16,6.12)], 0.14, ends="flush", simple_path=True, layer=68, datatype=20))  # met1
opendvs_pixel.add(gdstk.FlexPath([(5.965,11.64),(5.965,9.325)], 0.14, ends="flush", simple_path=True, layer=68, datatype=20))  # met1
opendvs_pixel.add(gdstk.FlexPath([(13.735,12.13),(13.735,0.13)], 0.33, ends="flush", simple_path=True, layer=70, datatype=20))  # met3
opendvs_pixel.add(gdstk.FlexPath([(13.105,12.13),(13.105,0.13)], 0.33, ends="flush", simple_path=True, layer=70, datatype=20))  # met3
opendvs_pixel.add(gdstk.FlexPath([(12.475,12.13),(12.475,0.13)], 0.33, ends="flush", simple_path=True, layer=70, datatype=20))  # met3
opendvs_pixel.add(gdstk.FlexPath([(11.845,12.13),(11.845,0.13)], 0.33, ends="flush", simple_path=True, layer=70, datatype=20))  # met3
opendvs_pixel.add(gdstk.FlexPath([(11.215,12.13),(11.215,0.13)], 0.33, ends="flush", simple_path=True, layer=70, datatype=20))  # met3
opendvs_pixel.add(gdstk.FlexPath([(10.585,12.13),(10.585,0.13)], 0.33, ends="flush", simple_path=True, layer=70, datatype=20))  # met3
opendvs_pixel.add(gdstk.FlexPath([(1.105,0.13),(1.105,11.27)], 0.33, ends="flush", simple_path=True, layer=70, datatype=20))  # met3
opendvs_pixel.add(gdstk.FlexPath([(0.475,0.13),(0.475,11.27)], 0.33, ends="flush", simple_path=True, layer=70, datatype=20))  # met3
opendvs_pixel.add(gdstk.FlexPath([(1.76,3.065),(1.76,2.17),(2.325,2.17),(2.325,1.805)], 0.17, ends="flush", simple_path=True, layer=67, datatype=20))  # li1
opendvs_pixel.add(gdstk.FlexPath([(1.81,2.98),(1.345,2.98)], 0.17, ends="flush", simple_path=True, layer=67, datatype=20))  # li1
opendvs_pixel.add(gdstk.FlexPath([(4.265,1.97),(3.76,1.97),(3.76,1.805)], 0.17, ends="flush", simple_path=True, layer=67, datatype=20))  # li1
opendvs_pixel.add(gdstk.Label('nRst', (10.43,4.75), layer=68, texttype=5))
opendvs_pixel.add(gdstk.Label('PrSFBp', (11.7,7.85), layer=68, texttype=5))
opendvs_pixel.add(gdstk.Label('nRst', (10.22,6.13), layer=68, texttype=5))
opendvs_pixel.add(gdstk.Label('vdiff', (8.005,2.325), layer=68, texttype=5))
opendvs_pixel.add(gdstk.Label('GndA', (0.275,6.36), layer=68, texttype=5))
opendvs_pixel.add(gdstk.Label('DiffBn', (1.015,11.975), layer=68, texttype=5))
opendvs_pixel.add(gdstk.Label('OnBn', (1.015,9.535), layer=68, texttype=5))
opendvs_pixel.add(gdstk.Label('OffBn', (1.015,7.095), layer=68, texttype=5))
opendvs_pixel.add(gdstk.Label('rowReadON', (1.365,3.245), layer=68, texttype=5))
opendvs_pixel.add(gdstk.Label('nRst', (0.815,2.05), layer=68, texttype=5))
opendvs_pixel.add(gdstk.Label('RefrBp', (11.7,5.525), layer=68, texttype=5))
opendvs_pixel.add(gdstk.Label('OffBn', (0.345,7.095), layer=68, texttype=5))
opendvs_pixel.add(gdstk.Label('vdiff', (10.255,1.865), layer=68, texttype=5))
opendvs_pixel.add(gdstk.Label('ON', (5.895,1.615), layer=68, texttype=5))
opendvs_pixel.add(gdstk.Label('vpr', (5.195,11.09), layer=68, texttype=5))
opendvs_pixel.add(gdstk.Label('vd', (11.22,2.41), layer=68, texttype=5))
opendvs_pixel.add(gdstk.Label('VddA18', (10.43,4.305), layer=68, texttype=5))
opendvs_pixel.add(gdstk.Label('VddA18', (6.595,11.63), layer=68, texttype=5))
opendvs_pixel.add(gdstk.Label('VddA18', (7.715,1.615), layer=68, texttype=5))
opendvs_pixel.add(gdstk.Label('VddA18', (12.075,1.875), layer=68, texttype=5))
opendvs_pixel.add(gdstk.Label('GndA', (4.445,11.63), layer=68, texttype=5))
opendvs_pixel.add(gdstk.Label('GndA', (0.275,10.955), layer=68, texttype=5))
opendvs_pixel.add(gdstk.Label('GndA', (0.275,8.905), layer=68, texttype=5))
opendvs_pixel.add(gdstk.Label('GndA', (0.815,3.43), layer=68, texttype=5))
opendvs_pixel.add(gdstk.Label('GndA', (12.16,9.035), layer=68, texttype=5))
opendvs_pixel.add(gdstk.Label('vsf', (10.215,7.31), layer=68, texttype=5))
opendvs_pixel.add(gdstk.Label('nOFF', (9.515,1.87), layer=68, texttype=5))
opendvs_pixel.add(gdstk.Label('pixRst', (1.355,1.97), layer=68, texttype=5))
opendvs_pixel.add(gdstk.Label('rowReadON', (2.21,1.825), layer=68, texttype=5))
opendvs_pixel.add(gdstk.Label('rowReadOFF', (2.985,1.825), layer=68, texttype=5))
opendvs_pixel.add(gdstk.Label('readLine', (2.56,1.28), layer=68, texttype=5))
opendvs_pixel.add(gdstk.Label('PrBp', (12.345,9.865), layer=68, texttype=5))
opendvs_pixel.add(gdstk.Label('VddA18', (12.035,7.31), layer=68, texttype=5))
opendvs_pixel.add(gdstk.Label('vd', (11.125,11.5), layer=68, texttype=5))
opendvs_pixel.add(gdstk.Label('nRst', (11.425,11.175), layer=68, texttype=5))
opendvs_pixel.add(gdstk.Label('vdiff', (11.95,11.5), layer=68, texttype=5))
opendvs_pixel.add(gdstk.Label('VddA18', (11.575,10.105), layer=68, texttype=5))
opendvs_pixel.add(gdstk.Label('vpr', (11.09,9.675), layer=68, texttype=5))
opendvs_pixel.add(gdstk.Label('GndD', (4.04,1.19), layer=68, texttype=5))
opendvs_pixel.add(gdstk.Label('GndA', (4.405,0.79), layer=68, texttype=5))
opendvs_pixel.add(gdstk.Label('vpd', (5.9,10.475), layer=68, texttype=5))
opendvs_pixel.add(gdstk.Label('vpd', (6.275,6.02), layer=68, texttype=5))

lib.write_gds('openDVS_pixel.gds')
